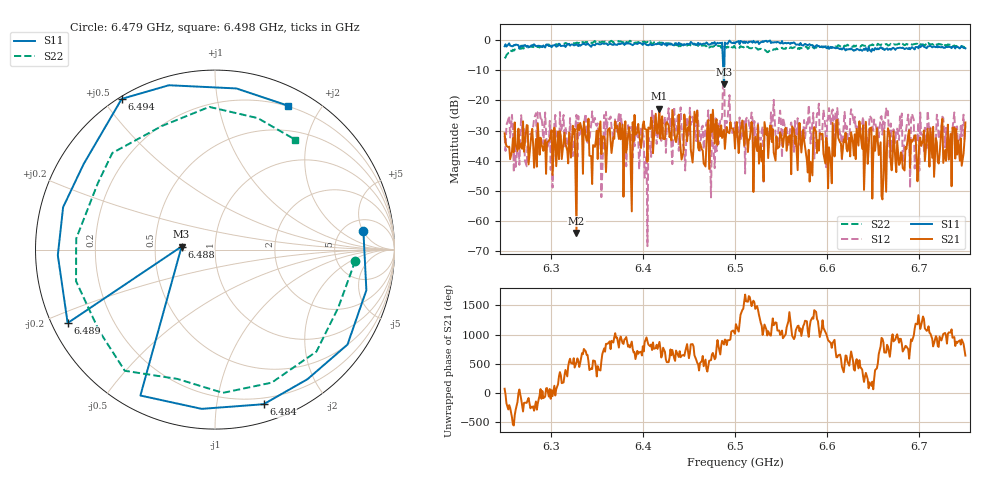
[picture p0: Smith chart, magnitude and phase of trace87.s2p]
# Hz S RI R 50
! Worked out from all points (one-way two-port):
!   401 points, 6.25 GHz to 6.75 GHz, reference 50 ohm
!   highest |S21| = -22.76 dB at 6.418 GHz (marker M1); lowest = -64.0 dB at 6.328 GHz (marker M2)
!   lowest |S11| = -14.6 dB at 6.488 GHz (marker M3), VSWR 1.46, Z = 34.3 + j1.23 ohm
!   |S11| at or under -10 dB: 6.487336 GHz to 6.488331 GHz (994.3 kHz wide, 0.0153 % of centre)
!   |S22| runs from -6.0 to -0.1 dB; largest |S21 - S12| = 0.75
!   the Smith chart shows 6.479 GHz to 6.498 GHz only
!   S11 on the Smith chart (normalised r, x): 6.479 GHz: 7.56, +5.06; 6.484 GHz: 0.14, -1.35; 6.488 GHz: 0.69, +0.02; 6.489 GHz: 0.05, -0.24; 6.494 GHz: 0.01, +0.56; 6.498 GHz: 0.19, +1.61
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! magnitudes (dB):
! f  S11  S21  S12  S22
! 6.25 GHz  -2.0  -30.9  -31.8  -6.0
! 6.328 GHz  -1.3  -64.0  -24.8  -0.8
! 6.334 GHz  -1.4  -30.0  -29.1  -0.7
! 6.348 GHz  -1.7  -35.4  -25.8  -0.2
! 6.354 GHz  -1.4  -27.0  -32.6  -0.7
! 6.374 GHz  -1.1  -32.8  -24.0  -0.3
! 6.405 GHz  -1.6  -40.3  -68.4  -0.5
! 6.418 GHz  -1.2  -22.8  -28.8  -0.7
! 6.466 GHz  -1.1  -40.9  -36.2  -1.6
! 6.479 GHz  -1.6  -27.7  -25.9  -2.1
! 6.484 GHz  -0.9  -31.8  -26.3  -1.9
! 6.488 GHz  -14.6  -29.8  -2.6  -2.1
! 6.489 GHz  -0.7  -36.1  -30.4  -2.0
! 6.494 GHz  -0.1  -30.9  -18.2  -2.5
! 6.498 GHz  -0.9  -29.4  -30.3  -2.4
! 6.5 GHz  -1.1  -35.9  -27.2  -2.4
! 6.584 GHz  -1.6  -44.9  -27.1  -2.4
! 6.636 GHz  -3.1  -30.6  -30.1  -2.1
! 6.655 GHz  -2.7  -33.6  -28.9  -1.1
! 6.661 GHz  -2.7  -45.4  -26.9  -1.4
! 6.668 GHz  -2.9  -31.5  -39.6  -1.5
! 6.75 GHz  -2.7  -27.3  -28.3  -2.3
